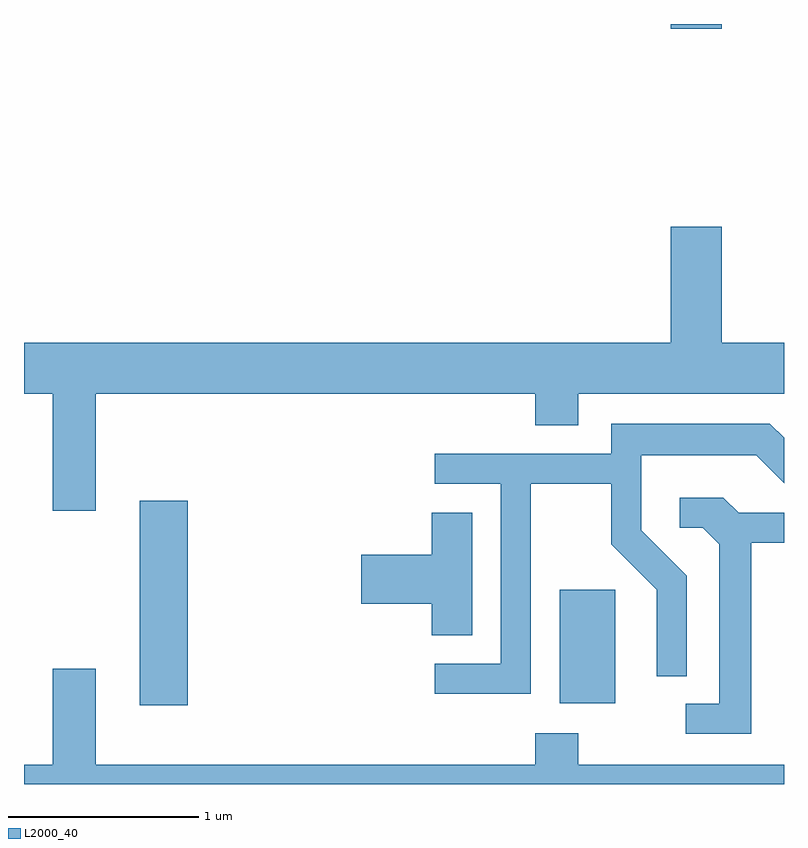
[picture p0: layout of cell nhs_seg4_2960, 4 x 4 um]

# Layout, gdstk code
import gdstk
lib = gdstk.Library(unit=1e-6, precision=1e-09)
def R(c, l, rs):  # rectangles x0, y0, x1, y1
    for r in rs: c.add(gdstk.rectangle(r[:2], r[2:], *l))
def P(c, l, *ps):  # polygons
    for p in ps: c.add(gdstk.Polygon(p, *l))
L2000_40 = (2000, 40)

nhs_seg4_2960 = lib.new_cell('nhs_seg4_2960')
R(nhs_seg4_2960, L2000_40, [(272.221,1326.396,272.474,1327.474), (274.431,1326.406,274.724,1327.004), (275.016,1329.956,275.284,1329.982)])
P(nhs_seg4_2960, L2000_40, [(271.989,1328.036),(274.301,1328.036),(274.301,1327.871),(274.529,1327.871),(274.529,1328.036),(275.611,1328.036),(275.611,1328.304),(275.284,1328.304),(275.284,1328.914),(275.016,1328.914),(275.016,1328.304),(271.611,1328.304),(271.611,1328.036),(271.761,1328.036),(271.761,1327.421),(271.989,1327.421)],
  [(274.279,1327.561),(274.701,1327.561),(274.701,1327.244),(274.941,1327.004),(274.941,1326.548),(275.099,1326.548),(275.099,1327.077),(274.859,1327.317),(274.859,1327.711),(275.464,1327.711),(275.611,1327.564),(275.611,1327.805),(275.537,1327.879),(274.701,1327.879),(274.701,1327.719),(273.773,1327.719),(273.773,1327.561),(274.121,1327.561),(274.121,1326.614),(273.773,1326.614),(273.773,1326.456),(274.279,1326.456)],
  [(275.439,1327.251),(275.611,1327.251),(275.611,1327.409),(275.372,1327.409),(275.292,1327.489),(275.063,1327.489),(275.063,1327.331),(275.184,1327.331),(275.271,1327.244),(275.271,1326.404),(275.093,1326.404),(275.093,1326.246),(275.439,1326.246)],
  [(273.969,1327.409),(273.756,1327.409),(273.756,1327.189),(273.386,1327.189),(273.386,1326.931),(273.756,1326.931),(273.756,1326.766),(273.969,1326.766)],
  [(275.611,1326.084),(274.529,1326.084),(274.529,1326.249),(274.301,1326.249),(274.301,1326.084),(271.989,1326.084),(271.989,1326.589),(271.761,1326.589),(271.761,1326.084),(271.611,1326.084),(271.611,1325.982),(275.611,1325.982)])

lib.write_gds('nhs_seg4_2960.gds')
